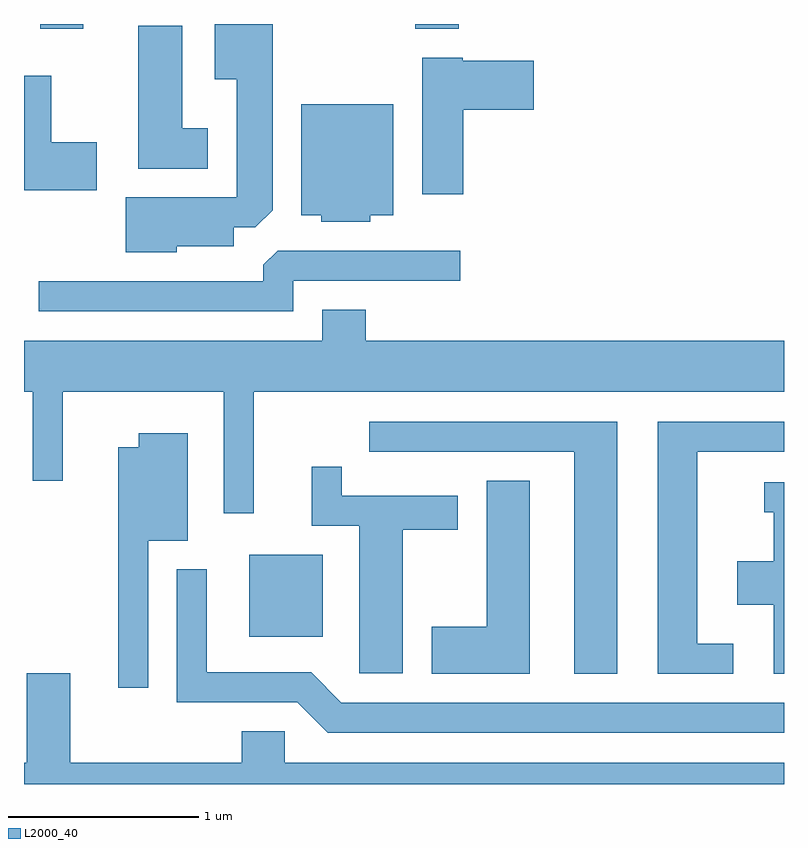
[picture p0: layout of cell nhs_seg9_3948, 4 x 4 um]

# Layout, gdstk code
import gdstk
lib = gdstk.Library(unit=1e-6, precision=1e-09)
def R(c, l, rs):  # rectangles x0, y0, x1, y1
    for r in rs: c.add(gdstk.rectangle(r[:2], r[2:], *l))
def P(c, l, *ps):  # polygons
    for p in ps: c.add(gdstk.Polygon(p, *l))
L2000_40 = (2000, 40)

nhs_seg9_3948 = lib.new_cell('nhs_seg9_3948')
R(nhs_seg9_3948, L2000_40, [(302.796,1977.206,303.184,1977.639), (301.696,1980.406,301.924,1980.432), (303.671,1980.406,303.899,1980.432)])
P(nhs_seg9_3948, L2000_40, [(302.414,1979.261),(302.714,1979.261),(302.714,1979.361),(302.829,1979.361),(302.919,1979.452),(302.919,1980.432),(302.616,1980.432),(302.616,1980.141),(302.731,1980.141),(302.731,1979.519),(302.146,1979.519),(302.146,1979.231),(302.414,1979.231)],
  [(302.579,1979.884),(302.444,1979.884),(302.444,1980.424),(302.211,1980.424),(302.211,1979.671),(302.579,1979.671)],
  [(303.924,1979.981),(304.294,1979.981),(304.294,1980.239),(303.92,1980.239),(303.92,1980.254),(303.706,1980.254),(303.706,1979.536),(303.924,1979.536)],
  [(301.994,1979.809),(301.754,1979.809),(301.754,1980.159),(301.611,1980.159),(301.611,1979.556),(301.994,1979.556)],
  [(303.434,1979.426),(303.554,1979.426),(303.554,1980.009),(303.071,1980.009),(303.071,1979.426),(303.176,1979.426),(303.176,1979.391),(303.434,1979.391)],
  [(303.029,1979.081),(303.908,1979.081),(303.908,1979.239),(302.947,1979.239),(302.871,1979.164),(302.871,1979.079),(301.688,1979.079),(301.688,1978.921),(303.029,1978.921)],
  [(302.819,1978.496),(305.611,1978.496),(305.611,1978.764),(303.409,1978.764),(303.409,1978.929),(303.181,1978.929),(303.181,1978.764),(301.611,1978.764),(301.611,1978.496),(301.656,1978.496),(301.656,1978.028),(301.814,1978.028),(301.814,1978.496),(302.661,1978.496),(302.661,1977.858),(302.819,1977.858)],
  [(304.734,1978.339),(303.428,1978.339),(303.428,1978.181),(304.506,1978.181),(304.506,1977.011),(304.734,1977.011)],
  [(305.343,1977.169),(305.154,1977.169),(305.154,1978.181),(305.611,1978.181),(305.611,1978.339),(304.946,1978.339),(304.946,1977.011),(305.343,1977.011)],
  [(302.264,1977.711),(302.474,1977.711),(302.474,1978.279),(302.216,1978.279),(302.216,1978.204),(302.106,1978.204),(302.106,1976.938),(302.264,1976.938)],
  [(303.604,1977.771),(303.894,1977.771),(303.894,1977.949),(303.284,1977.949),(303.284,1978.103),(303.126,1978.103),(303.126,1977.791),(303.376,1977.791),(303.376,1977.016),(303.604,1977.016)],
  [(304.274,1978.029),(304.046,1978.029),(304.046,1977.259),(303.756,1977.259),(303.756,1977.011),(304.274,1977.011)],
  [(305.611,1978.019),(305.508,1978.019),(305.508,1977.861),(305.556,1977.861),(305.556,1977.604),(305.366,1977.604),(305.366,1977.376),(305.556,1977.376),(305.556,1977.011),(305.611,1977.011)],
  [(305.611,1976.859),(303.282,1976.859),(303.122,1977.019),(302.574,1977.019),(302.574,1977.563),(302.416,1977.563),(302.416,1976.861),(303.049,1976.861),(303.209,1976.701),(305.611,1976.701)],
  [(305.611,1976.544),(302.984,1976.544),(302.984,1976.709),(302.756,1976.709),(302.756,1976.544),(301.854,1976.544),(301.854,1977.014),(301.626,1977.014),(301.626,1976.544),(301.611,1976.544),(301.611,1976.432),(305.611,1976.432)])

lib.write_gds('nhs_seg9_3948.gds')
